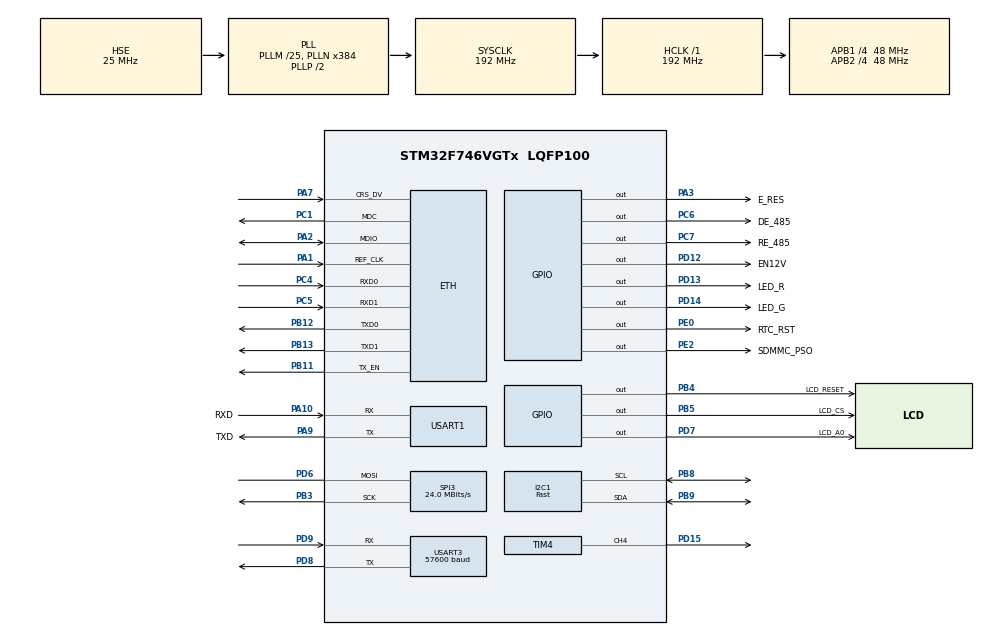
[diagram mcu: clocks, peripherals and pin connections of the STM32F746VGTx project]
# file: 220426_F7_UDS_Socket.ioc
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CORTEX_M7.ART_ACCLERATOR_ENABLE=1
CORTEX_M7.AccessPermission-Cortex_Memory_Protection_Unit_Region0_Settings=MPU_REGION_FULL_ACCESS
CORTEX_M7.BaseAddress-Cortex_Memory_Protection_Unit_Region0_Settings=0x20010000
CORTEX_M7.CPU_DCache=Enabled
CORTEX_M7.CPU_ICache=Enabled
CORTEX_M7.Enable-Cortex_Memory_Protection_Unit_Region0_Settings=MPU_REGION_ENABLE
CORTEX_M7.IsCacheable-Cortex_Memory_Protection_Unit_Region0_Settings=MPU_ACCESS_CACHEABLE
CORTEX_M7.MPU_Control=MPU_PRIVILEGED_DEFAULT
CORTEX_M7.PREFETCH_ENABLE=1
CORTEX_M7.Size-Cortex_Memory_Protection_Unit_Region0_Settings=MPU_REGION_SIZE_4KB
ETH.MACAddr=00\:80\:E1\:00\:00\:00
ETH.MediaInterface=ETH_MEDIA_INTERFACE_RMII
ETH.PhyAddress=1
ETH.RxMode=ETH_RXINTERRUPT_MODE
FREERTOS.HEAP_NUMBER=4
FREERTOS.INCLUDE_vTaskDelayUntil=1
FREERTOS.MEMORY_ALLOCATION=2
FREERTOS.Tasks01=defaultTask,0,512,StartDefaultTask,Default,NULL,Dynamic,NULL,NULL
FREERTOS.configTOTAL_HEAP_SIZE=32000
FREERTOS.configUSE_TIMERS=1
I2C1.I2C_Speed_Mode=I2C_Fast
I2C1.Timing=0x2010091A
IWDG.Prescaler=IWDG_PRESCALER_64
LWIP.DEFAULT_THREAD_STACKSIZE=2048
LWIP.GATEWAY_ADDRESS=192.168.001.100
LWIP.IP_ADDRESS=192.168.007.014
LWIP.LWIP_DHCP=0
LWIP.LWIP_HTTPD=0
LWIP.MEMP_NUM_NETBUF=6
LWIP.MEMP_NUM_NETCONN=8
LWIP.MEMP_NUM_TCPIP_MSG_API=16
LWIP.MEMP_NUM_TCP_PCB=8
LWIP.MEM_SIZE=2048
LWIP.NETMASK_ADDRESS=255.255.000.000
LWIP.SLIPIF_THREAD_STACKSIZE=2048
LWIP.TCPIP_THREAD_STACKSIZE=2048
LWIP.TCP_MSS=720
LWIP.TCP_SND_BUF=1840
LWIP.TCP_WND=4096
LWIP.Version=v2.1.2_Cube
Mcu.Family=STM32F7
Mcu.Name=STM32F746VGTx
Mcu.Package=LQFP100
NVIC.ETH_IRQn=true\:5\:0\:false\:false\:true\:true\:false\:true
NVIC.PriorityGroup=NVIC_PRIORITYGROUP_4
NVIC.TIM5_IRQn=true\:0\:0\:false\:false\:true\:false\:false\:true
NVIC.TimeBase=TIM5_IRQn
NVIC.TimeBaseIP=TIM5
NVIC.USART1_IRQn=true\:5\:0\:false\:false\:true\:true\:true\:true
NVIC.USART3_IRQn=true\:5\:0\:false\:false\:true\:true\:true\:true
PA1.Mode=RMII
PA1.Signal=ETH_REF_CLK
PA10.GPIO_Label=RXD
PA10.Mode=Asynchronous
PA10.Signal=USART1_RX
PA13.Mode=Serial_Wire
PA13.Signal=SYS_JTMS-SWDIO
PA14.Mode=Serial_Wire
PA14.Signal=SYS_JTCK-SWCLK
PA2.Mode=RMII
PA2.Signal=ETH_MDIO
PA3.GPIO_Label=E_RES
PA3.Signal=GPIO_Output
PA7.Mode=RMII
PA7.Signal=ETH_CRS_DV
PA9.GPIO_Label=TXD
PA9.Mode=Asynchronous
PA9.Signal=USART1_TX
PB11.Mode=RMII
PB11.Signal=ETH_TX_EN
PB12.Mode=RMII
PB12.Signal=ETH_TXD0
PB13.Mode=RMII
PB13.Signal=ETH_TXD1
PB3.Mode=Simplex_Bidirectional_Master
PB3.Signal=SPI3_SCK
PB4.GPIO_Label=LCD_RESET
PB4.Signal=GPIO_Output
PB5.GPIO_Label=LCD_CS
PB5.Signal=GPIO_Output
PB8.Mode=I2C
PB8.Signal=I2C1_SCL
PB9.Mode=I2C
PB9.Signal=I2C1_SDA
PC1.Mode=RMII
PC1.Signal=ETH_MDC
PC4.Mode=RMII
PC4.Signal=ETH_RXD0
PC5.Mode=RMII
PC5.Signal=ETH_RXD1
PC6.GPIO_Label=DE_485
PC6.Signal=GPIO_Output
PC7.GPIO_Label=RE_485
PC7.Signal=GPIO_Output
PD12.GPIO_Label=EN12V
PD12.Signal=GPIO_Output
PD13.GPIO_Label=LED_R
PD13.Signal=GPIO_Output
PD14.GPIO_Label=LED_G
PD14.Signal=GPIO_Output
PD15.Signal=S_TIM4_CH4
PD6.Mode=Simplex_Bidirectional_Master
PD6.Signal=SPI3_MOSI
PD7.GPIO_Label=LCD_A0
PD7.Signal=GPIO_Output
PD8.Mode=Asynchronous
PD8.Signal=USART3_TX
PD9.Mode=Asynchronous
PD9.Signal=USART3_RX
PE0.GPIO_Label=RTC_RST
PE0.Signal=GPIO_Output
PE2.GPIO_Label=SDMMC_PSO
PE2.Signal=GPIO_Output
PH0/OSC_IN.Mode=HSE-External-Oscillator
PH0/OSC_IN.Signal=RCC_OSC_IN
PH1/OSC_OUT.Mode=HSE-External-Oscillator
PH1/OSC_OUT.Signal=RCC_OSC_OUT
ProjectManager.HeapSize=0x2000
ProjectManager.StackSize=0x4000
ProjectManager.TargetToolchain=MDK-ARM V5
RCC.AHBFreq_Value=192000000
RCC.APB1CLKDivider=RCC_HCLK_DIV4
RCC.APB1Freq_Value=48000000
RCC.APB1TimFreq_Value=96000000
RCC.APB2CLKDivider=RCC_HCLK_DIV4
RCC.APB2Freq_Value=48000000
RCC.APB2TimFreq_Value=96000000
RCC.CortexFreq_Value=192000000
RCC.HCLKFreq_Value=192000000
RCC.HSE_VALUE=25000000
RCC.HSI_VALUE=16000000
RCC.LSE_VALUE=32768
RCC.PLLM=25
RCC.PLLN=384
RCC.PLLQ=8
RCC.PLLSAIP=RCC_PLLSAIP_DIV4
RCC.PLLSourceVirtual=RCC_PLLSOURCE_HSE
RCC.SDMMCClockSelection=RCC_SDMMC1CLKSOURCE_CLK48
RCC.SYSCLKFreq_VALUE=192000000
RCC.SYSCLKSource=RCC_SYSCLKSOURCE_PLLCLK
RCC.USBFreq_Value=48000000
RCC.VCOOutputFreq_Value=384000000
SH.S_TIM4_CH4.0=TIM4_CH4,PWM Generation4 CH4
SPI3.CalculateBaudRate=24.0 MBits/s
SPI3.DataSize=SPI_DATASIZE_8BIT
SPI3.Direction=SPI_DIRECTION_1LINE
SPI3.Mode=SPI_MODE_MASTER
SPI3.VirtualType=VM_MASTER
TIM4.Channel-PWM\ Generation4\ CH4=TIM_CHANNEL_4
TIM4.Period=500
TIM4.Prescaler=240
USART1.VirtualMode-Asynchronous=VM_ASYNC
USART3.BaudRate=57600
USART3.VirtualMode-Asynchronous=VM_ASYNC
VP_FREERTOS_VS_CMSIS_V1.Mode=CMSIS_V1
VP_IWDG_VS_IWDG.Mode=IWDG_Activate
VP_LWIP_VS_Enabled.Mode=Enabled
VP_SYS_VS_tim5.Mode=TIM5
VP_TIM4_VS_ClockSourceINT.Mode=Internal
board=custom

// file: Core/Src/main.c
/* USER CODE BEGIN Header */
/**
  ******************************************************************************
  * @file           : main.c
  * @brief          : Main program body
  ******************************************************************************
  * @attention
  *
  * <h2><center>&copy; Copyright (c) 2022 STMicroelectronics.
  * All rights reserved.</center></h2>
  *
  * This software component is licensed by ST under Ultimate Liberty license
  * SLA0044, the "License"; You may not use this file except in compliance with
  * the License. You may obtain a copy of the License at:
  *                             www.st.com/SLA0044
  *
  ******************************************************************************
  */
/* USER CODE END Header */
#include "main.h"
#include "cmsis_os.h"
#include "i2c.h"
#include "iwdg.h"
#include "lwip.h"
#include "spi.h"
#include "tim.h"
#include "usart.h"
#include "gpio.h"

/* USER CODE BEGIN Includes */
#include "st7735.h"
/* USER CODE END Includes */

void SystemClock_Config(void);
static void MPU_Config(void);
void MX_FREERTOS_Init(void);

/* USER CODE BEGIN 0 */
char UART3_msg_TX [RS232_BUFFER_SIZE];
char RS485_RXbuffer [RX_BUFFER_SIZE] = {0};
char RS485_TXbuffer [4];

uint8_t cell_state [MAX_SELL+1][5] = {0}; //массив с данными от ячеек

/* USER CODE END 0 */

int main(void)
{

  /* MPU Configuration--------------------------------------------------------*/
  MPU_Config();

  /* Enable I-Cache---------------------------------------------------------*/
  SCB_EnableICache();

  /* Enable D-Cache---------------------------------------------------------*/
  SCB_EnableDCache();

  /* MCU Configuration--------------------------------------------------------*/

  /* Reset of all peripherals, Initializes the Flash interface and the Systick. */
  HAL_Init();

  /* Configure the system clock */
  SystemClock_Config();

  /* Initialize all configured peripherals */
  MX_GPIO_Init();
  MX_I2C1_Init();
  MX_USART1_UART_Init();
  MX_USART3_UART_Init();
//  MX_IWDG_Init();
  MX_SPI3_Init();
  MX_TIM4_Init();
  /* USER CODE BEGIN 2 */
	lcdInit();
	ClearLcdMemory();
	LCD_SetFont(Arial_15x17,black);
	LCD_ShowString(5,10,"controller_staring...");
	LCD_Refresh();

	ENABLE_ETHERNET;

	if (READ_BIT (RCC->CSR, RCC_CSR_IWDGRSTF)) //если установлен бит IWDGRST (флаг срабатывания IWDG)
	{
		SET_BIT (RCC->CSR, RCC_CSR_RMVF); //сброс флага срабатывания IWDG
		sprintf (UART3_msg_TX,"UDS_controller_start_after_iwdg_reset\r\n");
		UART3_SendString ((char*)UART3_msg_TX);
	}
	else
	{
		sprintf (UART3_msg_TX,"UDS_controller_start\r\n");
		UART3_SendString ((char*)UART3_msg_TX);
	}
  /* USER CODE END 2 */

  /* Call init function for freertos objects (in freertos.c) */
  MX_FREERTOS_Init();
  /* Start scheduler */
  osKernelStart();

  /* We should never get here as control is now taken by the scheduler */
  /* Infinite loop */
  while (1)
  {

  }
}

void SystemClock_Config(void)
{
  RCC_OscInitTypeDef RCC_OscInitStruct = {0};
  RCC_ClkInitTypeDef RCC_ClkInitStruct = {0};
  RCC_PeriphCLKInitTypeDef PeriphClkInitStruct = {0};

  /** Configure the main internal regulator output voltage
  */
  __HAL_RCC_PWR_CLK_ENABLE();
  __HAL_PWR_VOLTAGESCALING_CONFIG(PWR_REGULATOR_VOLTAGE_SCALE1);
  /** Initializes the RCC Oscillators according to the specified parameters
  * in the RCC_OscInitTypeDef structure.
  */
  RCC_OscInitStruct.OscillatorType = RCC_OSCILLATORTYPE_LSI|RCC_OSCILLATORTYPE_HSE;
  RCC_OscInitStruct.HSEState = RCC_HSE_ON;
  RCC_OscInitStruct.LSIState = RCC_LSI_ON;
  RCC_OscInitStruct.PLL.PLLState = RCC_PLL_ON;
  RCC_OscInitStruct.PLL.PLLSource = RCC_PLLSOURCE_HSE;
  RCC_OscInitStruct.PLL.PLLM = 25;
  RCC_OscInitStruct.PLL.PLLN = 384;
  RCC_OscInitStruct.PLL.PLLP = RCC_PLLP_DIV2;
  RCC_OscInitStruct.PLL.PLLQ = 8;
  if (HAL_RCC_OscConfig(&RCC_OscInitStruct) != HAL_OK)
  {
    Error_Handler();
  }
  /** Activate the Over-Drive mode
  */
  if (HAL_PWREx_EnableOverDrive() != HAL_OK)
  {
    Error_Handler();
  }
  /** Initializes the CPU, AHB and APB buses clocks
  */
  RCC_ClkInitStruct.ClockType = RCC_CLOCKTYPE_HCLK|RCC_CLOCKTYPE_SYSCLK
                              |RCC_CLOCKTYPE_PCLK1|RCC_CLOCKTYPE_PCLK2;
  RCC_ClkInitStruct.SYSCLKSource = RCC_SYSCLKSOURCE_PLLCLK;
  RCC_ClkInitStruct.AHBCLKDivider = RCC_SYSCLK_DIV1;
  RCC_ClkInitStruct.APB1CLKDivider = RCC_HCLK_DIV4;
  RCC_ClkInitStruct.APB2CLKDivider = RCC_HCLK_DIV4;

  if (HAL_RCC_ClockConfig(&RCC_ClkInitStruct, FLASH_LATENCY_6) != HAL_OK)
  {
    Error_Handler();
  }
  PeriphClkInitStruct.PeriphClockSelection = RCC_PERIPHCLK_USART1|RCC_PERIPHCLK_USART3
                              |RCC_PERIPHCLK_I2C1;
  PeriphClkInitStruct.Usart1ClockSelection = RCC_USART1CLKSOURCE_PCLK2;
  PeriphClkInitStruct.Usart3ClockSelection = RCC_USART3CLKSOURCE_PCLK1;
  PeriphClkInitStruct.I2c1ClockSelection = RCC_I2C1CLKSOURCE_PCLK1;
  if (HAL_RCCEx_PeriphCLKConfig(&PeriphClkInitStruct) != HAL_OK)
  {
    Error_Handler();
  }
}

/* MPU Configuration */

void MPU_Config(void)
{
  MPU_Region_InitTypeDef MPU_InitStruct = {0};

  /* Disables the MPU */
  HAL_MPU_Disable();
  /** Initializes and configures the Region and the memory to be protected
  */
  MPU_InitStruct.Enable = MPU_REGION_ENABLE;
  MPU_InitStruct.Number = MPU_REGION_NUMBER0;
  MPU_InitStruct.BaseAddress = 0x20010000;
  MPU_InitStruct.Size = MPU_REGION_SIZE_4KB;
  MPU_InitStruct.SubRegionDisable = 0x0;
  MPU_InitStruct.TypeExtField = MPU_TEX_LEVEL0;
  MPU_InitStruct.AccessPermission = MPU_REGION_FULL_ACCESS;
  MPU_InitStruct.DisableExec = MPU_INSTRUCTION_ACCESS_ENABLE;
  MPU_InitStruct.IsShareable = MPU_ACCESS_NOT_SHAREABLE;
  MPU_InitStruct.IsCacheable = MPU_ACCESS_CACHEABLE;
  MPU_InitStruct.IsBufferable = MPU_ACCESS_NOT_BUFFERABLE;

  HAL_MPU_ConfigRegion(&MPU_InitStruct);
  /* Enables the MPU */
  HAL_MPU_Enable(MPU_PRIVILEGED_DEFAULT);

}
void HAL_TIM_PeriodElapsedCallback(TIM_HandleTypeDef *htim)
{
  if (htim->Instance == TIM5) {
    HAL_IncTick();
  }
}

void Error_Handler(void)
{
  __disable_irq();
  while (1)
  {
  }
}

/************************ (C) COPYRIGHT STMicroelectronics *****END OF FILE****/

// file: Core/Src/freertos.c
/* USER CODE BEGIN Header */
/**
  ******************************************************************************
  * File Name          : freertos.c
  * Description        : Code for freertos applications
  ******************************************************************************
  * @attention
  *
  * <h2><center>&copy; Copyright (c) 2022 STMicroelectronics.
  * All rights reserved.</center></h2>
  *
  * This software component is licensed by ST under Ultimate Liberty license
  * SLA0044, the "License"; You may not use this file except in compliance with
  * the License. You may obtain a copy of the License at:
  *                             www.st.com/SLA0044
  *
  ******************************************************************************
  */
/* USER CODE END Header */

#include "FreeRTOS.h"
#include "task.h"
#include "main.h"
#include "cmsis_os.h"

/* USER CODE BEGIN Includes */
#include "gpio.h"
#include "lwip/opt.h"
#include "lwip/arch.h"
#include "lwip/api.h"
#include "lwip/apps/fs.h"
#include "lwip.h"

#include "iwdg.h"
#include "tim.h"
#include "stdio.h"
#include "string.h"
#include "usart.h"
#include "gpio.h"
#include "myWeb.h"
#include "st7735.h"
#include "rtc.h"
/* USER CODE END Includes */

/* USER CODE BEGIN Variables */
extern uint8_t IP_ADDRESS[4]; //установленный ip-адрес в виде четырёх uint8_t (lwip.c)
extern char UART3_msg_TX [RS232_BUFFER_SIZE];
char lcd_buffer [50]; //буффер с конвертированными данными времени в строковом отображении

const unsigned char httpHeader[] = "HTTP/1.1" ;  // HTTP header
const unsigned char httpMethod[] = "GET";
const unsigned char state[] = "/?command=port00_state";
const unsigned char httpMimeTypeHTML[] = "text/html" ;              // HTML MIME type
const unsigned char httpMimeTypeScript[] = "text/plain" ;           // TEXT MIME type
const unsigned char httpTypeConnection[] = "Connection: keep-alive" ;
const unsigned char serverIP [] = { 192, 168, 7, 13};

char http_send_buffer [100]; //буффер, в который записывается сформированный http-запрос

osMutexId mutex_RS485_Handle; //мьютекс блокировки передачи команд ячейкам

osMessageQId RS485_msg_Queue;

osTimerId osProgTimerIWDG;  //программный таймер перезагружающий сторожевик
/* USER CODE END Variables */
osThreadId defaultTaskHandle;

/* USER CODE BEGIN FunctionPrototypes */
void send_thread (void * argument);
void recv_thread (void * argument);
void ProgTimerIWDGCallback(void const *argument);
/* USER CODE END FunctionPrototypes */

void StartDefaultTask(void const * argument);

extern void MX_LWIP_Init(void);
void MX_FREERTOS_Init(void); /* (MISRA C 2004 rule 8.1) */

/* GetIdleTaskMemory prototype (linked to static allocation support) */
void vApplicationGetIdleTaskMemory( StaticTask_t **ppxIdleTaskTCBBuffer, StackType_t **ppxIdleTaskStackBuffer, uint32_t *pulIdleTaskStackSize );

/* GetTimerTaskMemory prototype (linked to static allocation support) */
void vApplicationGetTimerTaskMemory( StaticTask_t **ppxTimerTaskTCBBuffer, StackType_t **ppxTimerTaskStackBuffer, uint32_t *pulTimerTaskStackSize );

/* USER CODE BEGIN GET_IDLE_TASK_MEMORY */
static StaticTask_t xIdleTaskTCBBuffer;
static StackType_t xIdleStack[configMINIMAL_STACK_SIZE];

void vApplicationGetIdleTaskMemory( StaticTask_t **ppxIdleTaskTCBBuffer, StackType_t **ppxIdleTaskStackBuffer, uint32_t *pulIdleTaskStackSize )
{
  *ppxIdleTaskTCBBuffer = &xIdleTaskTCBBuffer;
  *ppxIdleTaskStackBuffer = &xIdleStack[0];
  *pulIdleTaskStackSize = configMINIMAL_STACK_SIZE;
  /* place for user code */
}
/* USER CODE END GET_IDLE_TASK_MEMORY */

/* USER CODE BEGIN GET_TIMER_TASK_MEMORY */
static StaticTask_t xTimerTaskTCBBuffer;
static StackType_t xTimerStack[configTIMER_TASK_STACK_DEPTH];

void vApplicationGetTimerTaskMemory( StaticTask_t **ppxTimerTaskTCBBuffer, StackType_t **ppxTimerTaskStackBuffer, uint32_t *pulTimerTaskStackSize )
{
  *ppxTimerTaskTCBBuffer = &xTimerTaskTCBBuffer;
  *ppxTimerTaskStackBuffer = &xTimerStack[0];
  *pulTimerTaskStackSize = configTIMER_TASK_STACK_DEPTH;
  /* place for user code */
}
/* USER CODE END GET_TIMER_TASK_MEMORY */

void MX_FREERTOS_Init(void) {

  /* USER CODE BEGIN RTOS_MUTEX */
  osMutexDef (mutex_RS485);
	mutex_RS485_Handle = osMutexCreate(osMutex (mutex_RS485));
  /* USER CODE END RTOS_MUTEX */

  /* USER CODE BEGIN RTOS_TIMERS */
   osTimerDef (TimerIWDG, ProgTimerIWDGCallback);
	osProgTimerIWDG = osTimerCreate(osTimer (TimerIWDG), osTimerPeriodic, NULL);
  /* USER CODE END RTOS_TIMERS */

  /* USER CODE BEGIN RTOS_QUEUES */
  osMessageQDef (RS485_msg_Queuename, 2, uint8_t *);
	RS485_msg_Queue = osMessageCreate (osMessageQ (RS485_msg_Queuename), NULL); //очередь передачи полученного по RS-485 сообщения
  /* USER CODE END RTOS_QUEUES */

  /* Create the thread(s) */
  /* definition and creation of defaultTask */
  osThreadDef(defaultTask, StartDefaultTask, osPriorityNormal, 0, 512);
  defaultTaskHandle = osThreadCreate(osThread(defaultTask), NULL);

}

void StartDefaultTask(void const * argument)
{
  /* init code for LWIP */
  MX_LWIP_Init();
  /* USER CODE BEGIN StartDefaultTask */
	osTimerStart(osProgTimerIWDG, 2000); //запуск циклического таймера
	struct netconn *conn; //указатель на структуру соединения
  err_t err; //переменная ошибки
  ip_addr_t ServerIPaddr;
  IP4_ADDR(&ServerIPaddr, 192, 168, 7, 247); //запись ip-адреса http-сервера
	u16_t buflen = 0;

  if((conn = netconn_new(NETCONN_TCP)) != NULL)
  {
    if ((err = netconn_bind(conn, NULL, 23006)) == ERR_OK) //привязка нового netconn-соединения к IP-адресу и порту
    {
      if ((err = netconn_connect(conn, &ServerIPaddr, TCP_PORT)) == ERR_OK) //установка соединения с сервером
      {
				ClearLcdMemory();
				sprintf (lcd_buffer, "get_connect");
				LCD_ShowString(2, 2 , lcd_buffer);
				LCD_Refresh();
 //       sys_thread_new("send_thread", send_thread, (void*)&conn, 512, osPriorityNormal );
				buflen = sprintf (http_send_buffer, "%s %s %s\r\nHost: %u.%u.%u.%u:%u\r\nContent-Type:%s\r\n", httpMethod, state, httpHeader,
				serverIP[0], serverIP[1], serverIP[2], serverIP[3], TCP_PORT, httpMimeTypeHTML);
				if((err = netconn_write(conn, (void *)http_send_buffer, buflen, NETCONN_NOCOPY)) == ERR_OK)
				{
					ClearLcdMemory();
					sprintf (lcd_buffer, "%s %u", http_send_buffer, buflen);
					LCD_ShowString(2, 2 , lcd_buffer);
					LCD_Refresh();
				}
        sys_thread_new("recv_thread", recv_thread, (void*)&conn, DEFAULT_THREAD_STACKSIZE, osPriorityNormal );
      }
    }
    else
    {
      netconn_delete(conn);
    }
  }
  /* Infinite loop */
  for(;;)
  {
		LED_RED(1)
    osDelay(500);
		LED_RED(0);
		osDelay(500);
  }
  /* USER CODE END StartDefaultTask */
}

/* USER CODE BEGIN Application */

/************************************************************************************************/
void send_thread(void *arg)
{
	err_t send_err;
	struct netconn *conn; //указатель на структуру соединения
	u16_t buflen;

	buflen = sprintf (http_send_buffer, "%s %s %s\r\nHost: %u.%u.%u.%u:%u\r\n", httpMethod, state, httpHeader, serverIP[0], serverIP[1], serverIP[2], serverIP[3], TCP_PORT);
  for(;;)
  {
		ClearLcdMemory();
  	if((send_err = netconn_write(conn, (void *)http_send_buffer, buflen, NETCONN_NOCOPY)) == ERR_OK)
  	{
			sprintf (lcd_buffer, "%s %u", http_send_buffer, buflen);
			LCD_ShowString(2, 2 , lcd_buffer);
  	}
		else
		{
			sprintf (lcd_buffer, "error=%u", send_err);
			LCD_ShowString(2, 2 , lcd_buffer);
		}
		LCD_Refresh();
    osDelay(1000);
  }
}

/************************************************************************************************/
void recv_thread(void *arg)
{
	err_t recv_err;
  struct netconn *conn;
  struct netbuf *inbuf;
  uint8_t* buf;
  u16_t buflen;
  for(;;)
  {

  	if ((recv_err = netconn_recv(conn, &inbuf)) == ERR_OK)
  	{
  	  if (netconn_err(conn) == ERR_OK)
  	  {
  	    netbuf_data(inbuf, (void**)&buf, &buflen);
				sprintf (UART3_msg_TX,"%s\r\n", buf);
				UART3_SendString ((char*)UART3_msg_TX);
  	    netbuf_delete(inbuf);
  	  }
  	}
		osDelay(1000);
  }
}

/************************************************************************************************/
void ProgTimerIWDGCallback(void const *argument)
{
	HAL_IWDG_Refresh(&hiwdg); //перезагрузка iwdg
}

/* USER CODE END Application */

/************************ (C) COPYRIGHT STMicroelectronics *****END OF FILE****/
